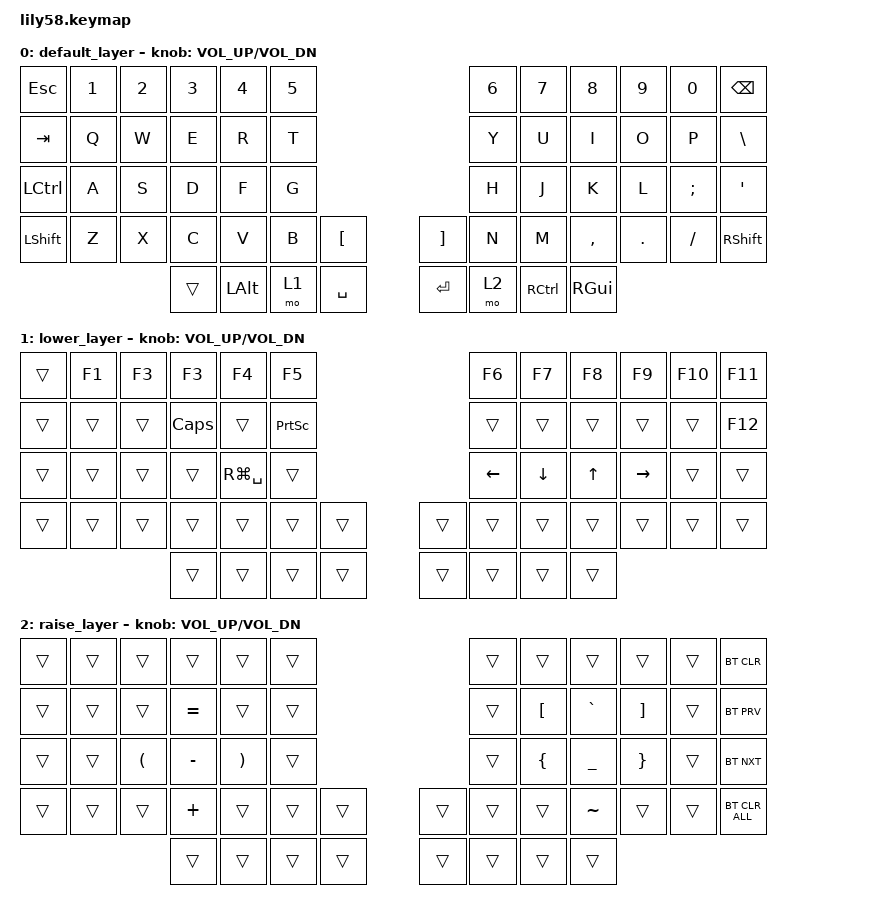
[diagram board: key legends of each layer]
/*
 * Copyright (c) 2020 The ZMK Contributors
 *
 * SPDX-License-Identifier: MIT
 */

#include <behaviors.dtsi>
#include <dt-bindings/zmk/bt.h>
#include <dt-bindings/zmk/keys.h>

/ {
    combos {
        compatible = "zmk,combos";

        combo_esc {
            timeout-ms = <50>;
            key-positions = <0 1>;
            bindings = <&kp ESC>;
        };
    };

    behaviors {
        ss_hs_modmorph: ss_hs_modmorph {
            compatible = "zmk,behavior-mod-morph";
            label = "SS_HS_MODMORPH";
            bindings = <&kp M>, <&kp RIGHT_BRACKET>;

            #binding-cells = <0>;
            mods = <(MOD_LSFT|MOD_RSFT)>;
        };

        kh_hs_tapdance: kh_hs_tapdance {
            compatible = "zmk,behavior-tap-dance";
            label = "KH_HS_TAPDANCE";
            #binding-cells = <0>;
            tapping-term-ms = <200>;
            bindings = <&kp LEFT_BRACKET>, <&kp RIGHT_BRACKET>;
        };

        hrm: hrm {
            compatible = "zmk,behavior-hold-tap";
            #binding-cells = <2>;
            flavor = "tap-preferred";
            tapping-term-ms = <200>;
            quick-tap-ms = <200>;
            require-prior-idle-ms = <125>;
            bindings = <&kp>, <&kp>;
        };
    };

    keymap {
        compatible = "zmk,keymap";

        default_layer {
            // ------------------------------------------------------------------------------------------------------------
            // |  ESC  |  1  |  2  |  3   |  4   |  5   |                   |  6   |  7    |  8    |  9   |   0   |   `   |
            // |  TAB  |  Q  |  W  |  E   |  R   |  T   |                   |  Y   |  U    |  I    |  O   |   P   |   -   |
            // |  CTRL |  A  |  S  |  D   |  F   |  G   |                   |  H   |  J    |  K    |  L   |   ;   |   '   |
            // | SHIFT |  Z  |  X  |  C   |  V   |  B   |   "["  |  |  "]"  |  N   |  M    |  ,    |  .   |   /   | SHIFT |
            //                     | ALT  | GUI  | LOWER|  SPACE |  | ENTER | RAISE| BSPC  | GUI   |

            bindings = <
&kp ESC    &kp N1  &kp N2  &kp N3  &kp N4        &kp N5                                         &kp N6  &kp N7             &kp N8         &kp N9   &kp N0    &kp BACKSPACE
&kp TAB    &kp Q   &kp W   &kp E   &kp R         &kp T                                          &kp Y   &kp U              &kp I          &kp O    &kp P     &kp BACKSLASH
&kp LCTRL  &kp A   &kp S   &kp D   &kp F         &kp G                                          &kp H   &kp J              &kp K          &kp L    &kp SEMI  &kp SQT
&kp LSHFT  &kp Z   &kp X   &kp C   &kp V         &kp B   &kp LEFT_BRACKET    &kp RIGHT_BRACKET  &kp N   &kp M              &kp COMMA      &kp DOT  &kp FSLH  &kp RIGHT_SHIFT
                           &trans  &kp LEFT_ALT  &mo 1   &kp SPACE           &kp RET            &mo 2   &kp RIGHT_CONTROL  &kp RIGHT_GUI
            >;

            sensor-bindings = <&inc_dec_kp C_VOL_UP C_VOL_DN>;
        };

        lower_layer {
            // ------------------------------------------------------------------------------------------------------------
            // | BTCLR | BT1 | BT2 |  BT3 |  BT4 |  BT5 |                   |      |       |       |      |       |       |
            // |  F1   |  F2 |  F3 |  F4  |  F5  |  F6  |                   |  F7  |  F8   |  F9   |  F10 |  F11  |  F12  |
            // |   `   |  !  |  @  |  #   |  $   |  %   |                   |  ^   |  &    |  *    |  (   |   )   |   ~   |
            // |       |     |     |      |      |      |        |  |       |      |  _    |  +    |  {   |   }   |  "|"  |
            //                     |      |      |      |        |  |       |      |       |       |

            bindings = <
&trans  &kp F1  &kp F3  &kp F3        &kp F4         &kp F5                             &kp F6    &kp F7    &kp F8        &kp F9     &kp F10  &kp F11
&trans  &trans  &trans  &kp CAPSLOCK  &trans         &kp PRINTSCREEN                    &trans    &trans    &trans        &trans     &trans   &kp F12
&trans  &trans  &trans  &trans        &kp RG(SPACE)  &trans                             &kp LEFT  &kp DOWN  &kp UP_ARROW  &kp RIGHT  &trans   &trans
&trans  &trans  &trans  &trans        &trans         &trans           &trans    &trans  &trans    &trans    &trans        &trans     &trans   &trans
                        &trans        &trans         &trans           &trans    &trans  &trans    &trans    &trans
            >;

            sensor-bindings = <&inc_dec_kp C_VOL_UP C_VOL_DN>;
        };

        raise_layer {
            // ------------------------------------------------------------------------------------------------------------
            // |       |     |     |      |      |      |                   |      |       |       |      |       |       |
            // |   `   |  1  |  2  |  3   |  4   |  5   |                   |  6   |   7   |   8   |  9   |   0   |       |
            // |   F1  |  F2 |  F3 |  F4  |  F5  |  F6  |                   |      |   <-  |   v   |  ^   |  ->   |       |
            // |   F7  |  F8 |  F9 |  F10 |  F11 |  F12 |        |  |       |  +   |   -   |   =   |  [   |   ]   |   \   |
            //                     |      |      |      |        |  |       |      |       |       |

            bindings = <
&trans  &trans  &trans                &trans     &trans                 &trans                    &trans  &trans            &trans     &trans             &trans  &bt BT_CLR
&trans  &trans  &trans                &kp EQUAL  &trans                 &trans                    &trans  &kp LEFT_BRACKET  &kp GRAVE  &kp RIGHT_BRACKET  &trans  &bt BT_PRV
&trans  &trans  &kp LEFT_PARENTHESIS  &kp MINUS  &kp RIGHT_PARENTHESIS  &trans                    &trans  &kp LEFT_BRACE    &kp UNDER  &kp RIGHT_BRACE    &trans  &bt BT_NXT
&trans  &trans  &trans                &kp PLUS   &trans                 &trans  &trans    &trans  &trans  &trans            &kp TILDE  &trans             &trans  &bt BT_CLR_ALL
                                      &trans     &trans                 &trans  &trans    &trans  &trans  &trans            &trans
            >;

            sensor-bindings = <&inc_dec_kp C_VOL_UP C_VOL_DN>;
        };
    };
};
